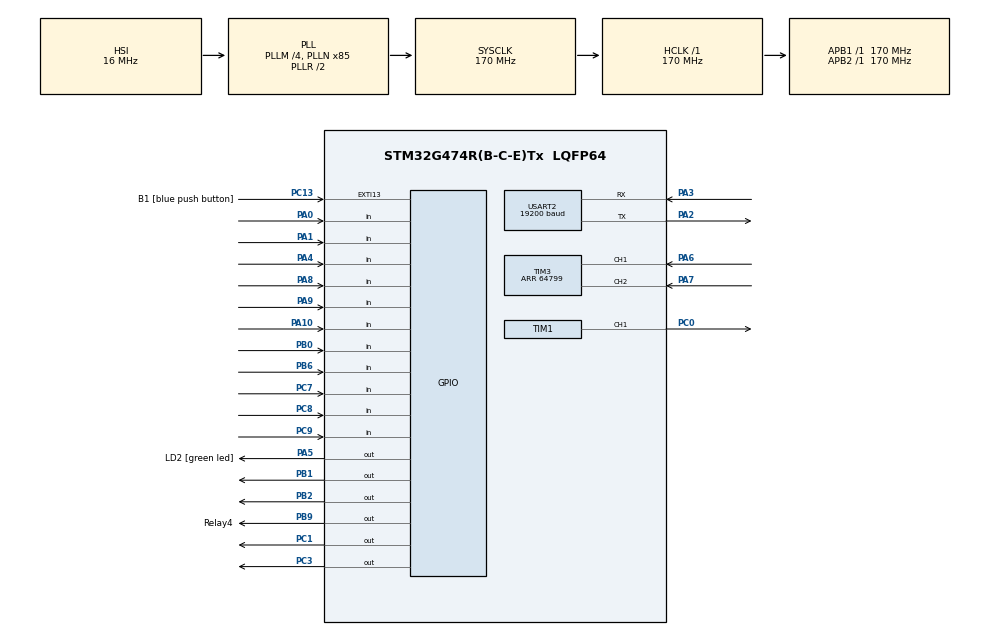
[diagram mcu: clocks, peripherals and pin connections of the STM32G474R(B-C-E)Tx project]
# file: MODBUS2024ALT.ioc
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ARM.CMSIS-DSP.1.15.0.CMSISJjDSP=Source
ARM.CMSIS.6.0.0.CMSISJjCORE=true
Dma.Request0=USART2_TX
Dma.Request1=USART2_RX
Dma.USART2_RX.1.Direction=DMA_PERIPH_TO_MEMORY
Dma.USART2_RX.1.EventEnable=DISABLE
Dma.USART2_RX.1.Instance=DMA1_Channel2
Dma.USART2_RX.1.MemDataAlignment=DMA_MDATAALIGN_BYTE
Dma.USART2_RX.1.MemInc=DMA_MINC_ENABLE
Dma.USART2_RX.1.Mode=DMA_NORMAL
Dma.USART2_RX.1.PeriphDataAlignment=DMA_PDATAALIGN_BYTE
Dma.USART2_RX.1.PeriphInc=DMA_PINC_DISABLE
Dma.USART2_RX.1.Polarity=HAL_DMAMUX_REQ_GEN_RISING
Dma.USART2_RX.1.Priority=DMA_PRIORITY_LOW
Dma.USART2_RX.1.RequestNumber=1
Dma.USART2_RX.1.SignalID=NONE
Dma.USART2_RX.1.SyncEnable=DISABLE
Dma.USART2_RX.1.SyncPolarity=HAL_DMAMUX_SYNC_NO_EVENT
Dma.USART2_RX.1.SyncRequestNumber=1
Dma.USART2_RX.1.SyncSignalID=NONE
Dma.USART2_TX.0.Direction=DMA_MEMORY_TO_PERIPH
Dma.USART2_TX.0.EventEnable=DISABLE
Dma.USART2_TX.0.Instance=DMA1_Channel1
Dma.USART2_TX.0.MemDataAlignment=DMA_MDATAALIGN_BYTE
Dma.USART2_TX.0.MemInc=DMA_MINC_ENABLE
Dma.USART2_TX.0.Mode=DMA_NORMAL
Dma.USART2_TX.0.PeriphDataAlignment=DMA_PDATAALIGN_BYTE
Dma.USART2_TX.0.PeriphInc=DMA_PINC_DISABLE
Dma.USART2_TX.0.Polarity=HAL_DMAMUX_REQ_GEN_RISING
Dma.USART2_TX.0.Priority=DMA_PRIORITY_LOW
Dma.USART2_TX.0.RequestNumber=1
Dma.USART2_TX.0.SignalID=NONE
Dma.USART2_TX.0.SyncEnable=DISABLE
Dma.USART2_TX.0.SyncPolarity=HAL_DMAMUX_SYNC_NO_EVENT
Dma.USART2_TX.0.SyncRequestNumber=1
Dma.USART2_TX.0.SyncSignalID=NONE
Mcu.Family=STM32G4
Mcu.Name=STM32G474R(B-C-E)Tx
Mcu.Package=LQFP64
NVIC.DMA1_Channel1_IRQn=true\:0\:0\:false\:false\:true\:false\:true\:true
NVIC.DMA1_Channel2_IRQn=true\:0\:0\:false\:false\:true\:false\:true\:true
NVIC.EXTI15_10_IRQn=true\:0\:0\:false\:false\:true\:true\:true\:true
NVIC.PriorityGroup=NVIC_PRIORITYGROUP_4
NVIC.TIM1_UP_TIM16_IRQn=true\:0\:0\:false\:false\:true\:true\:true\:true
NVIC.TIM3_IRQn=true\:0\:0\:false\:false\:true\:true\:true\:true
NVIC.TIM4_IRQn=true\:0\:0\:false\:false\:true\:true\:true\:true
NVIC.USART2_IRQn=true\:0\:0\:false\:false\:true\:true\:true\:true
PA0.GPIO_PuPd=GPIO_PULLUP
PA0.Signal=GPIO_Input
PA1.GPIO_PuPd=GPIO_PULLUP
PA1.Signal=GPIO_Input
PA10.GPIO_PuPd=GPIO_PULLUP
PA10.Signal=GPIO_Input
PA13.GPIO_Label=T_SWDIO
PA13.Mode=Serial_Wire
PA13.Signal=SYS_JTMS-SWDIO
PA14.GPIO_Label=T_SWCLK
PA14.Mode=Serial_Wire
PA14.Signal=SYS_JTCK-SWCLK
PA2.Mode=Asynchronous
PA2.Signal=USART2_TX
PA3.Mode=Asynchronous
PA3.Signal=USART2_RX
PA4.GPIO_PuPd=GPIO_PULLUP
PA4.Signal=GPIO_Input
PA5.GPIO_Label=LD2 [green led]
PA5.Signal=GPIO_Output
PA6.Signal=S_TIM3_CH1
PA7.Signal=S_TIM3_CH2
PA8.GPIO_PuPd=GPIO_PULLUP
PA8.Signal=GPIO_Input
PA9.GPIO_PuPd=GPIO_PULLUP
PA9.Signal=GPIO_Input
PB0.GPIO_PuPd=GPIO_PULLUP
PB0.Signal=GPIO_Input
PB1.Signal=GPIO_Output
PB2.Signal=GPIO_Output
PB3.GPIO_Label=T_SWO
PB3.Signal=SYS_JTDO-SWO
PB6.Signal=GPIO_Input
PB9.GPIO_Label=Relay4
PB9.Signal=GPIO_Output
PC0.Signal=S_TIM1_CH1
PC1.Signal=GPIO_Output
PC13.GPIO_Label=B1 [blue push button]
PC13.Signal=GPXTI13
PC14-OSC32_IN.Mode=LSE-External-Oscillator
PC14-OSC32_IN.Signal=RCC_OSC32_IN
PC15-OSC32_OUT.Mode=LSE-External-Oscillator
PC15-OSC32_OUT.Signal=RCC_OSC32_OUT
PC3.Signal=GPIO_Output
PC7.Signal=GPIO_Input
PC8.GPIO_PuPd=GPIO_PULLUP
PC8.Signal=GPIO_Input
PC9.GPIO_PuPd=GPIO_PULLUP
PC9.Signal=GPIO_Input
PF0-OSC_IN.Mode=HSE-External-Oscillator
PF0-OSC_IN.Signal=RCC_OSC_IN
PF1-OSC_OUT.Mode=HSE-External-Oscillator
PF1-OSC_OUT.Signal=RCC_OSC_OUT
ProjectManager.HeapSize=0x200
ProjectManager.StackSize=0x400
ProjectManager.TargetToolchain=STM32CubeIDE
RCC.ADC12Freq_Value=170000000
RCC.ADC345Freq_Value=170000000
RCC.AHBFreq_Value=170000000
RCC.APB1Freq_Value=170000000
RCC.APB1TimFreq_Value=170000000
RCC.APB2Freq_Value=170000000
RCC.APB2TimFreq_Value=170000000
RCC.CortexFreq_Value=170000000
RCC.EXTERNAL_CLOCK_VALUE=12288000
RCC.HCLKFreq_Value=170000000
RCC.HSE_VALUE=24000000
RCC.HSI48_VALUE=48000000
RCC.HSI_VALUE=16000000
RCC.PLLM=RCC_PLLM_DIV4
RCC.PLLN=85
RCC.RTCClockSelection=RCC_RTCCLKSOURCE_LSE
RCC.SYSCLKFreq_VALUE=170000000
RCC.SYSCLKSource=RCC_SYSCLKSOURCE_PLLCLK
RCC.USBFreq_Value=170000000
RCC.VCOOutputFreq_Value=340000000
SH.S_TIM1_CH1.0=TIM1_CH1,PWM Generation1 CH1
SH.S_TIM3_CH1.0=TIM3_CH1,Encoder_Interface
SH.S_TIM3_CH2.0=TIM3_CH2,Encoder_Interface
TIM1.Channel-PWM\ Generation1\ CH1=TIM_CHANNEL_1
TIM1.PeriodNoDither=3999
TIM1.Prescaler=169
TIM16.PeriodNoDither=1145
TIM16.Prescaler=169
TIM3.EncoderMode=TIM_ENCODERMODE_TI12
TIM3.IC1Filter=3
TIM3.IC2Filter=3
TIM3.PeriodNoDither=64799
TIM4.PeriodNoDither=4999
TIM4.Prescaler=169
TIM5.PeriodNoDither=4294967295
TIM5.Prescaler=169
USART2.BaudRate=19200
USART2.OneBitSampling=UART_ONE_BIT_SAMPLE_DISABLE
USART2.Parity=PARITY_EVEN
USART2.VirtualMode-Asynchronous=VM_ASYNC
USART2.WordLength=WORDLENGTH_9B
VP_ARM.CMSIS-DSP_VS_CMSISJjDSP_1.15.0_1.15.0.Mode=CMSISJjDSP
VP_ARM.CMSIS_VS_CMSISJjCORE_6.0.0_6.0.0.Mode=CMSISJjCORE
VP_SYS_VS_DBSignals.Mode=DisableDeadBatterySignals
VP_TIM16_VS_ClockSourceINT.Mode=Enable_Timer
VP_TIM16_VS_OPM.Mode=OPM_bit
VP_TIM2_VS_ClockSourceINT.Mode=Internal
VP_TIM4_VS_ClockSourceINT.Mode=Internal
VP_TIM5_VS_ClockSourceINT.Mode=Internal
board=NUCLEO-G474RE

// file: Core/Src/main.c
/* USER CODE BEGIN Header */
/**
  ******************************************************************************
  * @file           : main.c
  * @brief          : Main program body
  ******************************************************************************
  * @attention
  *
  * Copyright (c) 2024 STMicroelectronics.
  * All rights reserved.
  *
  * This software is licensed under terms that can be found in the LICENSE file
  * in the root directory of this software component.
  * If no LICENSE file comes with this software, it is provided AS-IS.
  *
  ******************************************************************************
  */
/* USER CODE END Header */
#include "main.h"

/* USER CODE BEGIN Includes */
#include "arm_math.h"
#include "pid.h"
#include "ModBusRTU.h"
/* USER CODE END Includes */

TIM_HandleTypeDef htim1;
TIM_HandleTypeDef htim2;
TIM_HandleTypeDef htim3;
TIM_HandleTypeDef htim4;
TIM_HandleTypeDef htim5;
TIM_HandleTypeDef htim16;

UART_HandleTypeDef huart2;
DMA_HandleTypeDef hdma_usart2_tx;
DMA_HandleTypeDef hdma_usart2_rx;

/* USER CODE BEGIN PV */
/*
List to do
-Merge IOC
-vacuum

List to test
-set home
-set shelve
*/

uint16_t timerange = 2;
uint64_t upper = 0;
uint64_t read = 0;
float linearspeed[2] ;
float linearacc = 0;
uint8_t relay[4];
uint32_t WaitGripper;
uint8_t GripperFlag;
uint32_t CountGripper;

uint32_t QEIReadRaw;
float velodegree;
float CurrentPos;
float linearvel[2];
float linearvelkar[2];
float linearacckal;
typedef struct {
// for record New / Old value to calculate dx / dt
	uint32_t Position[2];
	uint64_t TimeStamp[2];
	float QEIPostion_1turn[2];
	float QEIAngularVelocity;
	float Angle;
	float TotalPos[2];
	float QEIRound;

} QEI_StructureTypeDef;

QEI_StructureTypeDef QEIdata = { 0 };
uint64_t _micros = 0;

enum {
	NEW, OLD
};

//motor
uint16_t duty_cycle = 1000;

//LogicConv
uint8_t Lo1 = 0; // foreward leedswitch
uint8_t Lo2 = 0;// backward
uint8_t Lo3 = 0; //joy vs pid
uint8_t Lo4 = 1; //emer

//Botton
uint8_t bt1 = 0;
uint8_t bt2 = 0;
uint8_t bt3 = 0;
uint8_t bt4 = 0;
uint8_t bt5 = 0;
uint8_t bt5prev = 0;

//Limit
uint8_t LimitTop = 0;
uint8_t LimitBottom = 0;
uint8_t x = 0;
//RelayWrite

//PID
uint8_t mode = 2;
float Vfeedback;
float RealVfeedback;
float Goal = 0;
uint16_t duty_cycle_pid;
PID pid_control;
uint8_t test_change = 1;
uint8_t test_change_prev = 0;
float pid_p = 0.5;
float pid_i = 5.5e-3;
float pid_d = 3.5e-6;
uint8_t PercentDis;

///BaseSys
ModbusHandleTypedef hmodbus;
u16u8_t registerFrame[200];

float ShelvePos[5];
float HomePos = 0;

int32_t Z[4];	//Z[] = ZPos ZSpeed ZAccel XPos
uint8_t BaseVacuum;
uint8_t BaseGripper;
uint8_t ActualVacuum;
uint8_t ActualGripper;
char PickOrder[6];
char PlaceOrder[6];
uint16_t GoalPick[5];
uint16_t GoalPlace[5];
int j = 0;
uint8_t Arrived = 0;
uint8_t i;
uint8_t a;
float b_check[10];
uint8_t MotorDriveFlag = 0;
float MotorDriveDampDistance = 0;
float MotorDriveTravelDistance;
float StartTotalPos;
float PIDVFeedback;
//flag
uint8_t LimitBottomFlag=0;
uint8_t flagpick = 0;
uint8_t flagpickend = 0;
uint8_t flagplace = 0;
uint8_t flagplaceend = 0;
uint8_t flagEmer = 0;
uint8_t flagstart =0 ;
/* USER CODE END PV */

void SystemClock_Config(void);
static void MX_GPIO_Init(void);
static void MX_DMA_Init(void);
static void MX_USART2_UART_Init(void);
static void MX_TIM16_Init(void);
static void MX_TIM5_Init(void);
static void MX_TIM1_Init(void);
static void MX_TIM2_Init(void);
static void MX_TIM3_Init(void);
static void MX_TIM4_Init(void);
/* USER CODE BEGIN PFP */
void HomeGoTo();
void JogModeGoTo();
void PointModeGoTo();
void convert_to_string(uint16_t number, char* buffer, int buffer_size);

uint64_t Micros();
void QEIEncoderPosVel_Update();
void ReadLogicConv();
void ReadButton();
void ReadLimit();
void WritePins();
void MotorDrive();
void MotorDrivePoint();
void RelayDrive();
void GoPick();
void GoPlace();
long kalman_filter(long ADC_Value);
long kalman_filter_acc(long ADC_Value);
/* USER CODE END PFP */

int main(void)
{

  /* MCU Configuration--------------------------------------------------------*/

  /* Reset of all peripherals, Initializes the Flash interface and the Systick. */
  HAL_Init();

  /* Configure the system clock */
  SystemClock_Config();

  /* Initialize all configured peripherals */
  MX_GPIO_Init();
  MX_DMA_Init();
  MX_USART2_UART_Init();
  MX_TIM16_Init();
  MX_TIM5_Init();
  MX_TIM1_Init();
  MX_TIM2_Init();
  MX_TIM3_Init();
  MX_TIM4_Init();
  /* USER CODE BEGIN 2 */
  //pwm setup
  	 relay[0] = 1;
  	 relay[1] = 0;
  	 relay[2] = 0;

	HAL_TIM_Base_Start(&htim1);
	HAL_TIM_PWM_Start(&htim1, TIM_CHANNEL_1);
	__HAL_TIM_SET_COMPARE(&htim1, TIM_CHANNEL_1, 0);

	HAL_TIM_Encoder_Start(&htim3, TIM_CHANNEL_ALL);
	HAL_TIM_Base_Start_IT(&htim4);
	upper = 0;
	PID_init(&pid_control, pid_p, pid_i, pid_d ,timerange);

	hmodbus.huart = &huart2;
	hmodbus.htim = &htim16;
	hmodbus.slaveAddress = 0x15;
	hmodbus.RegisterSize =200;
	Modbus_init(&hmodbus, registerFrame);

	HAL_TIM_Base_Start_IT(&htim5);

  /* USER CODE END 2 */

  /* Infinite loop */
  while (1)
  {

    /* USER CODE BEGIN 3 */
	if(flagstart == 0){
		relay[0] = 0;
		relay[1] = 0;
		relay[2] = 0;
		flagstart = 1;
	}

	Modbus_Protocal_Worker();
	registerFrame[0x11].U16 = QEIdata.TotalPos[NEW]*10; //ZPos
	//registerFrame[0x11].U16 = b_check[0];
	registerFrame[0x12].U16 = fabs(linearspeed[NEW]*10); //ZSpeed
	registerFrame[0x13].U16 = fabs(linearacc); //ZAccel
	registerFrame[0x40].U16 = Z[3]/10; //XPos
	BaseVacuum = registerFrame[2].U16; // 0 = off , 1 = on
	BaseGripper = registerFrame[3].U16; // 0 = Backward , 1 = Forward

	//re counter
	if (LimitBottomFlag == 1) {
		memset(&QEIdata, 0, sizeof(QEIdata));

		__HAL_TIM_SET_COMPARE(&htim1, TIM_CHANNEL_1, 500);
		HAL_GPIO_WritePin(GPIOC, GPIO_PIN_3, 0);
		HAL_Delay(200);
		__HAL_TIM_SET_COMPARE(&htim1, TIM_CHANNEL_1, 0);
		__HAL_TIM_SET_COUNTER(&htim3,0);
		registerFrame[0x10].U16 = 0;
		LimitBottomFlag = 0;
	}

	if(Lo4 == 0  && flagEmer==0){
		__HAL_TIM_SET_COMPARE(&htim1, TIM_CHANNEL_1, 0);
		relay[0] = 0; //Gripper pull
		relay[1] = 0;
		relay[2] = 0;
		flagEmer = 1;
		__HAL_TIM_SET_COMPARE(&htim1, TIM_CHANNEL_1, 0);
		registerFrame[0x10].U16 = 0;
		registerFrame[0x01].U16 = 0;

	}
	if((Lo4 == 1) && (flagEmer == 1)){

		MotorDriveFlag = 1;
		flagEmer = 0;
	}else if((flagEmer == 1)&&(bt5 == 0)){
		__HAL_TIM_SET_COMPARE(&htim1, TIM_CHANNEL_1, 0);
		registerFrame[0x10].U16 = 0;
		registerFrame[0x01].U16 = 0;

		flagEmer = 0;
	}

	static uint64_t timestamp = 0;
	int64_t currentTime = Micros();
	if (currentTime > timestamp) {
		timestamp = currentTime + timerange;	 //us
		QEIEncoderPosVel_Update();
	}

	RelayDrive();
	ReadButton();
	ReadLogicConv();
	ReadLimit();
	if (mode == 0){
		MotorDrive();
	}

	if (LimitBottom == 0) {
		LimitBottomFlag = 1;
	}

	if (LimitTop == 0) {
		mode = 1;
		__HAL_TIM_SET_COMPARE(&htim1, TIM_CHANNEL_1, 0);
	}

	if (Lo3 == 1 && mode !=0){ //joy manual
			if (bt3 == 0) {
				HAL_GPIO_WritePin(GPIOC, GPIO_PIN_3, 1);
				__HAL_TIM_SET_COMPARE(&htim1, TIM_CHANNEL_1, duty_cycle);
			} else if (bt2 == 0) {
				HAL_GPIO_WritePin(GPIOC, GPIO_PIN_3, 0);
				__HAL_TIM_SET_COMPARE(&htim1, TIM_CHANNEL_1, duty_cycle);
			} else if (bt1 == 0){
				Z[3] = Z[3] + 1 ;
			}else if(bt4 == 0){
				Z[3] = Z[3] - 1 ;
			}else {
				__HAL_TIM_SET_COMPARE(&htim1, TIM_CHANNEL_1, 0);
			}

			relay[3] = 0;
	} else if (Lo3 == 0 && mode!=0){
			relay[3] = 1;
			 if (bt1 == 0){
				 Z[3] = Z[3] + 1 ;
			}else if(bt4 == 0){
				Z[3] = Z[3] - 1 ;
			}
			if(registerFrame[0x10].U16 == 0){

				if(BaseGripper==1){
					relay[0] = 0; //Gripper push
					relay[1] = 1;
				}else if(BaseGripper == 0){
					relay[0] = 1; //Gripper push
					relay[1] = 0;
				}
				if(BaseVacuum==1){
					relay[2] = 1;
				}else if(BaseVacuum == 0){
					relay[2] = 0;
				}
			}

			//Set Home
			if(registerFrame[0x01].U16 == 2){
				registerFrame[0x10].U16 = 2;
				registerFrame[0x01].U16 = 0;
			}
			//Set Shelves
			if (registerFrame[0x01].U16 == 1){
				registerFrame[0x01].U16 = 0;
				registerFrame[0x10].U16 = 1;
			}

			//Set Shelves
			if(registerFrame[0x10].U16 == 1){

				if ((bt2 == 0) && (bt1 == 1)) {
					HAL_GPIO_WritePin(GPIOC, GPIO_PIN_3, 0); //Go Up
					__HAL_TIM_SET_COMPARE(&htim1, TIM_CHANNEL_1, 700);
				} else if((bt2 == 1) && (bt1 == 0)){
					HAL_GPIO_WritePin(GPIOC, GPIO_PIN_3, 1); //Go Down
					__HAL_TIM_SET_COMPARE(&htim1, TIM_CHANNEL_1, 500);
				} else{
					__HAL_TIM_SET_COMPARE(&htim1, TIM_CHANNEL_1, 0);
				}

				// Handle bt5 press, to ensure that this function only trigger once.
				static uint8_t flagbt5 = 0;
				if(bt5 == 0) {
					static uint64_t timestampbt5 = 0;
					if(HAL_GetTick() > timestampbt5 && flagbt5 == 0) {
						timestampbt5 = HAL_GetTick() + 1000;
						ShelvePos[i] = QEIdata.TotalPos[NEW];
						i+=1;
						flagbt5 = 1;
					}
				} else {
					flagbt5 = 0;
				}

				// Set registerFrame 0x10 to 0 (idle) if finish running
				if(i > 4){
					i = 0;
					__HAL_TIM_SET_COMPARE(&htim1, TIM_CHANNEL_1, 0);
					registerFrame[0x10].U16 = 0;
				}

				bt5prev = bt5;
				registerFrame[0x23].U16 = ShelvePos[0]*10;
				registerFrame[0x24].U16 = ShelvePos[1]*10;
				registerFrame[0x25].U16 = ShelvePos[2]*10;
				registerFrame[0x26].U16 = ShelvePos[3]*10;
				registerFrame[0x27].U16 = ShelvePos[4]*10;
				//timestamp = HAL_GetTick()+2000;
			}

			//Set Home Run To limit switch
			if(registerFrame[0x10].U16 == 2){

				__HAL_TIM_SET_COMPARE(&htim1, TIM_CHANNEL_1, 800);
				HAL_GPIO_WritePin(GPIOC, GPIO_PIN_3, 1); //End effector Go Down

			}

			//Run Point Mode
				if(registerFrame[0x01].U16 == 8) {
					registerFrame[0x01].U16 = 0;
					registerFrame[0x10].U16 = 16;
					Arrived = 0;
					MotorDriveFlag = 0;
					Goal = registerFrame[48].U16/10;

				}

				if(registerFrame[0x10].U16 == 16){
					MotorDrivePoint();
				}
				if(Arrived == 1 && registerFrame[0x10].U16 == 16) {
					registerFrame[0x10].U16 = 0;
					MotorDriveFlag = 0;
				}

			//Run Jog Mode
			if(registerFrame[0x01].U16 == 4){
				convert_to_string(registerFrame[0x21].U16, PickOrder, sizeof(PickOrder));
				convert_to_string(registerFrame[0x22].U16, PlaceOrder, sizeof(PlaceOrder));
				registerFrame[0x01].U16 = 0;
				registerFrame[0x10].U16 = 4;
				for(int i = 0;i<=4;i++){

					GoalPick[i] = ShelvePos[PickOrder[4-i]-'0'-1];
					GoalPlace[i] = ShelvePos[PlaceOrder[4-i]-'0'-1];
//					GoalPick[i] = i + 10;
//					GoalPlace[i] =(i+1)*100 +10;
				}
			}

		/////////////////START JOG////////////////////////////////////////////////////////////
			if(registerFrame[0x10].U16 == 4 && j < 5){
				GoPick();
			}else if(registerFrame[0x10].U16 == 8 && j < 5){
				GoPlace();
			}else if(j==5){
				registerFrame[0x10].U16 = 0;
				for(int i = 0;i<=4;i++){
					GoalPick[i] = 0;
					GoalPlace[i] = 0;
			}

				j = 0;
				a = 7;
			}
		///////////////////END JOG///////////////////////////////////////////////////////////

		}

  }
  /* USER CODE END 3 */
}

void SystemClock_Config(void)
{
  RCC_OscInitTypeDef RCC_OscInitStruct = {0};
  RCC_ClkInitTypeDef RCC_ClkInitStruct = {0};

  /** Configure the main internal regulator output voltage
  */
  HAL_PWREx_ControlVoltageScaling(PWR_REGULATOR_VOLTAGE_SCALE1_BOOST);

  /** Initializes the RCC Oscillators according to the specified parameters
  * in the RCC_OscInitTypeDef structure.
  */
  RCC_OscInitStruct.OscillatorType = RCC_OSCILLATORTYPE_HSI;
  RCC_OscInitStruct.HSIState = RCC_HSI_ON;
  RCC_OscInitStruct.HSICalibrationValue = RCC_HSICALIBRATION_DEFAULT;
  RCC_OscInitStruct.PLL.PLLState = RCC_PLL_ON;
  RCC_OscInitStruct.PLL.PLLSource = RCC_PLLSOURCE_HSI;
  RCC_OscInitStruct.PLL.PLLM = RCC_PLLM_DIV4;
  RCC_OscInitStruct.PLL.PLLN = 85;
  RCC_OscInitStruct.PLL.PLLP = RCC_PLLP_DIV2;
  RCC_OscInitStruct.PLL.PLLQ = RCC_PLLQ_DIV2;
  RCC_OscInitStruct.PLL.PLLR = RCC_PLLR_DIV2;
  if (HAL_RCC_OscConfig(&RCC_OscInitStruct) != HAL_OK)
  {
    Error_Handler();
  }

  /** Initializes the CPU, AHB and APB buses clocks
  */
  RCC_ClkInitStruct.ClockType = RCC_CLOCKTYPE_HCLK|RCC_CLOCKTYPE_SYSCLK
                              |RCC_CLOCKTYPE_PCLK1|RCC_CLOCKTYPE_PCLK2;
  RCC_ClkInitStruct.SYSCLKSource = RCC_SYSCLKSOURCE_PLLCLK;
  RCC_ClkInitStruct.AHBCLKDivider = RCC_SYSCLK_DIV1;
  RCC_ClkInitStruct.APB1CLKDivider = RCC_HCLK_DIV1;
  RCC_ClkInitStruct.APB2CLKDivider = RCC_HCLK_DIV1;

  if (HAL_RCC_ClockConfig(&RCC_ClkInitStruct, FLASH_LATENCY_4) != HAL_OK)
  {
    Error_Handler();
  }
}

static void MX_TIM1_Init(void)
{

  TIM_MasterConfigTypeDef sMasterConfig = {0};
  TIM_OC_InitTypeDef sConfigOC = {0};
  TIM_BreakDeadTimeConfigTypeDef sBreakDeadTimeConfig = {0};

  htim1.Instance = TIM1;
  htim1.Init.Prescaler = 169;
  htim1.Init.CounterMode = TIM_COUNTERMODE_UP;
  htim1.Init.Period = 3999;
  htim1.Init.ClockDivision = TIM_CLOCKDIVISION_DIV1;
  htim1.Init.RepetitionCounter = 0;
  htim1.Init.AutoReloadPreload = TIM_AUTORELOAD_PRELOAD_DISABLE;
  if (HAL_TIM_PWM_Init(&htim1) != HAL_OK)
  {
    Error_Handler();
  }
  sMasterConfig.MasterOutputTrigger = TIM_TRGO_RESET;
  sMasterConfig.MasterOutputTrigger2 = TIM_TRGO2_RESET;
  sMasterConfig.MasterSlaveMode = TIM_MASTERSLAVEMODE_DISABLE;
  if (HAL_TIMEx_MasterConfigSynchronization(&htim1, &sMasterConfig) != HAL_OK)
  {
    Error_Handler();
  }
  sConfigOC.OCMode = TIM_OCMODE_PWM1;
  sConfigOC.Pulse = 0;
  sConfigOC.OCPolarity = TIM_OCPOLARITY_HIGH;
  sConfigOC.OCNPolarity = TIM_OCNPOLARITY_HIGH;
  sConfigOC.OCFastMode = TIM_OCFAST_DISABLE;
  sConfigOC.OCIdleState = TIM_OCIDLESTATE_RESET;
  sConfigOC.OCNIdleState = TIM_OCNIDLESTATE_RESET;
  if (HAL_TIM_PWM_ConfigChannel(&htim1, &sConfigOC, TIM_CHANNEL_1) != HAL_OK)
  {
    Error_Handler();
  }
  sBreakDeadTimeConfig.OffStateRunMode = TIM_OSSR_DISABLE;
  sBreakDeadTimeConfig.OffStateIDLEMode = TIM_OSSI_DISABLE;
  sBreakDeadTimeConfig.LockLevel = TIM_LOCKLEVEL_OFF;
  sBreakDeadTimeConfig.DeadTime = 0;
  sBreakDeadTimeConfig.BreakState = TIM_BREAK_DISABLE;
  sBreakDeadTimeConfig.BreakPolarity = TIM_BREAKPOLARITY_HIGH;
  sBreakDeadTimeConfig.BreakFilter = 0;
  sBreakDeadTimeConfig.BreakAFMode = TIM_BREAK_AFMODE_INPUT;
  sBreakDeadTimeConfig.Break2State = TIM_BREAK2_DISABLE;
  sBreakDeadTimeConfig.Break2Polarity = TIM_BREAK2POLARITY_HIGH;
  sBreakDeadTimeConfig.Break2Filter = 0;
  sBreakDeadTimeConfig.Break2AFMode = TIM_BREAK_AFMODE_INPUT;
  sBreakDeadTimeConfig.AutomaticOutput = TIM_AUTOMATICOUTPUT_DISABLE;
  if (HAL_TIMEx_ConfigBreakDeadTime(&htim1, &sBreakDeadTimeConfig) != HAL_OK)
  {
    Error_Handler();
  }
  HAL_TIM_MspPostInit(&htim1);

}

static void MX_TIM2_Init(void)
{

  TIM_ClockConfigTypeDef sClockSourceConfig = {0};
  TIM_MasterConfigTypeDef sMasterConfig = {0};

  htim2.Instance = TIM2;
  htim2.Init.Prescaler = 0;
  htim2.Init.CounterMode = TIM_COUNTERMODE_UP;
  htim2.Init.Period = 4294967295;
  htim2.Init.ClockDivision = TIM_CLOCKDIVISION_DIV1;
  htim2.Init.AutoReloadPreload = TIM_AUTORELOAD_PRELOAD_DISABLE;
  if (HAL_TIM_Base_Init(&htim2) != HAL_OK)
  {
    Error_Handler();
  }
  sClockSourceConfig.ClockSource = TIM_CLOCKSOURCE_INTERNAL;
  if (HAL_TIM_ConfigClockSource(&htim2, &sClockSourceConfig) != HAL_OK)
  {
    Error_Handler();
  }
  sMasterConfig.MasterOutputTrigger = TIM_TRGO_RESET;
  sMasterConfig.MasterSlaveMode = TIM_MASTERSLAVEMODE_DISABLE;
  if (HAL_TIMEx_MasterConfigSynchronization(&htim2, &sMasterConfig) != HAL_OK)
  {
    Error_Handler();
  }

}

static void MX_TIM3_Init(void)
{

  TIM_Encoder_InitTypeDef sConfig = {0};
  TIM_MasterConfigTypeDef sMasterConfig = {0};

  htim3.Instance = TIM3;
  htim3.Init.Prescaler = 0;
  htim3.Init.CounterMode = TIM_COUNTERMODE_UP;
  htim3.Init.Period = 64799;
  htim3.Init.ClockDivision = TIM_CLOCKDIVISION_DIV1;
  htim3.Init.AutoReloadPreload = TIM_AUTORELOAD_PRELOAD_DISABLE;
  sConfig.EncoderMode = TIM_ENCODERMODE_TI12;
  sConfig.IC1Polarity = TIM_ICPOLARITY_RISING;
  sConfig.IC1Selection = TIM_ICSELECTION_DIRECTTI;
  sConfig.IC1Prescaler = TIM_ICPSC_DIV1;
  sConfig.IC1Filter = 3;
  sConfig.IC2Polarity = TIM_ICPOLARITY_RISING;
  sConfig.IC2Selection = TIM_ICSELECTION_DIRECTTI;
  sConfig.IC2Prescaler = TIM_ICPSC_DIV1;
  sConfig.IC2Filter = 3;
  if (HAL_TIM_Encoder_Init(&htim3, &sConfig) != HAL_OK)
  {
    Error_Handler();
  }
  sMasterConfig.MasterOutputTrigger = TIM_TRGO_RESET;
  sMasterConfig.MasterSlaveMode = TIM_MASTERSLAVEMODE_DISABLE;
  if (HAL_TIMEx_MasterConfigSynchronization(&htim3, &sMasterConfig) != HAL_OK)
  {
    Error_Handler();
  }

}

static void MX_TIM4_Init(void)
{

  TIM_ClockConfigTypeDef sClockSourceConfig = {0};
  TIM_MasterConfigTypeDef sMasterConfig = {0};

  htim4.Instance = TIM4;
  htim4.Init.Prescaler = 169;
  htim4.Init.CounterMode = TIM_COUNTERMODE_UP;
  htim4.Init.Period = 4999;
  htim4.Init.ClockDivision = TIM_CLOCKDIVISION_DIV1;
  htim4.Init.AutoReloadPreload = TIM_AUTORELOAD_PRELOAD_DISABLE;
  if (HAL_TIM_Base_Init(&htim4) != HAL_OK)
  {
    Error_Handler();
  }
  sClockSourceConfig.ClockSource = TIM_CLOCKSOURCE_INTERNAL;
  if (HAL_TIM_ConfigClockSource(&htim4, &sClockSourceConfig) != HAL_OK)
  {
    Error_Handler();
  }
  sMasterConfig.MasterOutputTrigger = TIM_TRGO_RESET;
  sMasterConfig.MasterSlaveMode = TIM_MASTERSLAVEMODE_DISABLE;
  if (HAL_TIMEx_MasterConfigSynchronization(&htim4, &sMasterConfig) != HAL_OK)
  {
    Error_Handler();
  }

}

static void MX_TIM5_Init(void)
{

  TIM_ClockConfigTypeDef sClockSourceConfig = {0};
  TIM_MasterConfigTypeDef sMasterConfig = {0};

  htim5.Instance = TIM5;
  htim5.Init.Prescaler = 169;
  htim5.Init.CounterMode = TIM_COUNTERMODE_UP;
  htim5.Init.Period = 4294967295;
  htim5.Init.ClockDivision = TIM_CLOCKDIVISION_DIV1;
  htim5.Init.AutoReloadPreload = TIM_AUTORELOAD_PRELOAD_DISABLE;
  if (HAL_TIM_Base_Init(&htim5) != HAL_OK)
  {
    Error_Handler();
  }
  sClockSourceConfig.ClockSource = TIM_CLOCKSOURCE_INTERNAL;
  if (HAL_TIM_ConfigClockSource(&htim5, &sClockSourceConfig) != HAL_OK)
  {
    Error_Handler();
  }
  sMasterConfig.MasterOutputTrigger = TIM_TRGO_RESET;
  sMasterConfig.MasterSlaveMode = TIM_MASTERSLAVEMODE_DISABLE;
  if (HAL_TIMEx_MasterConfigSynchronization(&htim5, &sMasterConfig) != HAL_OK)
  {
    Error_Handler();
  }

}

static void MX_TIM16_Init(void)
{

  htim16.Instance = TIM16;
  htim16.Init.Prescaler = 169;
  htim16.Init.CounterMode = TIM_COUNTERMODE_UP;
  htim16.Init.Period = 1145;
  htim16.Init.ClockDivision = TIM_CLOCKDIVISION_DIV1;
  htim16.Init.RepetitionCounter = 0;
  htim16.Init.AutoReloadPreload = TIM_AUTORELOAD_PRELOAD_DISABLE;
  if (HAL_TIM_Base_Init(&htim16) != HAL_OK)
  {
    Error_Handler();
  }
  if (HAL_TIM_OnePulse_Init(&htim16, TIM_OPMODE_SINGLE) != HAL_OK)
  {
    Error_Handler();
  }

}

static void MX_USART2_UART_Init(void)
{

  huart2.Instance = USART2;
  huart2.Init.BaudRate = 19200;
  huart2.Init.WordLength = UART_WORDLENGTH_9B;
  huart2.Init.StopBits = UART_STOPBITS_1;
  huart2.Init.Parity = UART_PARITY_EVEN;
  huart2.Init.Mode = UART_MODE_TX_RX;
  huart2.Init.HwFlowCtl = UART_HWCONTROL_NONE;
  huart2.Init.OverSampling = UART_OVERSAMPLING_16;
  huart2.Init.OneBitSampling = UART_ONE_BIT_SAMPLE_DISABLE;
  huart2.Init.ClockPrescaler = UART_PRESCALER_DIV1;
  huart2.AdvancedInit.AdvFeatureInit = UART_ADVFEATURE_NO_INIT;
  if (HAL_UART_Init(&huart2) != HAL_OK)
  {
    Error_Handler();
  }
  if (HAL_UARTEx_SetTxFifoThreshold(&huart2, UART_TXFIFO_THRESHOLD_1_8) != HAL_OK)
  {
    Error_Handler();
  }
  if (HAL_UARTEx_SetRxFifoThreshold(&huart2, UART_RXFIFO_THRESHOLD_1_8) != HAL_OK)
  {
    Error_Handler();
  }
  if (HAL_UARTEx_DisableFifoMode(&huart2) != HAL_OK)
  {
    Error_Handler();
  }

}

static void MX_DMA_Init(void)
{

  /* DMA controller clock enable */
  __HAL_RCC_DMAMUX1_CLK_ENABLE();
  __HAL_RCC_DMA1_CLK_ENABLE();

  /* DMA interrupt init */
  /* DMA1_Channel1_IRQn interrupt configuration */
  HAL_NVIC_SetPriority(DMA1_Channel1_IRQn, 0, 0);
  HAL_NVIC_EnableIRQ(DMA1_Channel1_IRQn);
  /* DMA1_Channel2_IRQn interrupt configuration */
  HAL_NVIC_SetPriority(DMA1_Channel2_IRQn, 0, 0);
  HAL_NVIC_EnableIRQ(DMA1_Channel2_IRQn);

}

static void MX_GPIO_Init(void)
{
  GPIO_InitTypeDef GPIO_InitStruct = {0};

  /* GPIO Ports Clock Enable */
  __HAL_RCC_GPIOC_CLK_ENABLE();
  __HAL_RCC_GPIOF_CLK_ENABLE();
  __HAL_RCC_GPIOA_CLK_ENABLE();
  __HAL_RCC_GPIOB_CLK_ENABLE();

  /*Configure GPIO pin Output Level */
  HAL_GPIO_WritePin(GPIOC, GPIO_PIN_1|GPIO_PIN_3, GPIO_PIN_RESET);

  /*Configure GPIO pin Output Level */
  HAL_GPIO_WritePin(LD2_GPIO_Port, LD2_Pin, GPIO_PIN_RESET);

  /*Configure GPIO pin Output Level */
  HAL_GPIO_WritePin(GPIOB, GPIO_PIN_1|GPIO_PIN_2|Relay4_Pin, GPIO_PIN_RESET);

  /*Configure GPIO pin : B1_Pin */
  GPIO_InitStruct.Pin = B1_Pin;
  GPIO_InitStruct.Mode = GPIO_MODE_IT_RISING;
  GPIO_InitStruct.Pull = GPIO_NOPULL;
  HAL_GPIO_Init(B1_GPIO_Port, &GPIO_InitStruct);

  /*Configure GPIO pins : PC1 PC3 */
  GPIO_InitStruct.Pin = GPIO_PIN_1|GPIO_PIN_3;
  GPIO_InitStruct.Mode = GPIO_MODE_OUTPUT_PP;
  GPIO_InitStruct.Pull = GPIO_NOPULL;
  GPIO_InitStruct.Speed = GPIO_SPEED_FREQ_LOW;
  HAL_GPIO_Init(GPIOC, &GPIO_InitStruct);

  /*Configure GPIO pins : PA0 PA1 PA4 PA8
                           PA9 PA10 */
  GPIO_InitStruct.Pin = GPIO_PIN_0|GPIO_PIN_1|GPIO_PIN_4|GPIO_PIN_8
                          |GPIO_PIN_9|GPIO_PIN_10;
  GPIO_InitStruct.Mode = GPIO_MODE_INPUT;
  GPIO_InitStruct.Pull = GPIO_PULLUP;
  HAL_GPIO_Init(GPIOA, &GPIO_InitStruct);

  /*Configure GPIO pin : LD2_Pin */
  GPIO_InitStruct.Pin = LD2_Pin;
  GPIO_InitStruct.Mode = GPIO_MODE_OUTPUT_PP;
  GPIO_InitStruct.Pull = GPIO_NOPULL;
  GPIO_InitStruct.Speed = GPIO_SPEED_FREQ_LOW;
  HAL_GPIO_Init(LD2_GPIO_Port, &GPIO_InitStruct);

  /*Configure GPIO pin : PB0 */
  GPIO_InitStruct.Pin = GPIO_PIN_0;
  GPIO_InitStruct.Mode = GPIO_MODE_INPUT;
  GPIO_InitStruct.Pull = GPIO_PULLUP;
  HAL_GPIO_Init(GPIOB, &GPIO_InitStruct);

  /*Configure GPIO pins : PB1 PB2 Relay4_Pin */
  GPIO_InitStruct.Pin = GPIO_PIN_1|GPIO_PIN_2|Relay4_Pin;
  GPIO_InitStruct.Mode = GPIO_MODE_OUTPUT_PP;
  GPIO_InitStruct.Pull = GPIO_NOPULL;
  GPIO_InitStruct.Speed = GPIO_SPEED_FREQ_LOW;
  HAL_GPIO_Init(GPIOB, &GPIO_InitStruct);

  /*Configure GPIO pin : PC7 */
  GPIO_InitStruct.Pin = GPIO_PIN_7;
  GPIO_InitStruct.Mode = GPIO_MODE_INPUT;
  GPIO_InitStruct.Pull = GPIO_NOPULL;
  HAL_GPIO_Init(GPIOC, &GPIO_InitStruct);

  /*Configure GPIO pins : PC8 PC9 */
  GPIO_InitStruct.Pin = GPIO_PIN_8|GPIO_PIN_9;
  GPIO_InitStruct.Mode = GPIO_MODE_INPUT;
  GPIO_InitStruct.Pull = GPIO_PULLUP;
  HAL_GPIO_Init(GPIOC, &GPIO_InitStruct);

  /*Configure GPIO pin : PB6 */
  GPIO_InitStruct.Pin = GPIO_PIN_6;
  GPIO_InitStruct.Mode = GPIO_MODE_INPUT;
  GPIO_InitStruct.Pull = GPIO_NOPULL;
  HAL_GPIO_Init(GPIOB, &GPIO_InitStruct);

  /* EXTI interrupt init*/
  HAL_NVIC_SetPriority(EXTI15_10_IRQn, 0, 0);
  HAL_NVIC_EnableIRQ(EXTI15_10_IRQn);

}

/* USER CODE BEGIN 4 */
//void HAL_GPIO_EXTI_Callback (uint16_t GPIO_Pin)
//{
//	if(GPIO_Pin == GPIO_PIN_7){ //limitBottom
//		LimitBottomFlag = 1;
//	}
//
//	if(GPIO_Pin == GPIO_PIN_6){
////		mode = 1;
////		__HAL_TIM_SET_COMPARE(&htim1, TIM_CHANNEL_1, 0);
//	}
//
//}

void HAL_TIM_PeriodElapsedCallback(TIM_HandleTypeDef *htim)
{
	if(htim == &htim4)
	{
		registerFrame[0].U16 = 22881;
		CountGripper += 1;
	}
	if (htim == &htim5) {
		upper += 1;
		HAL_GPIO_TogglePin(GPIOA, GPIO_PIN_5);
	}
}

void convert_to_string(uint16_t number, char* buffer, int buffer_size) {
  if (buffer_size < 6) { // Ensure buffer size is at least 6 (for 5 digits + null terminator)    return; // Handle error (insufficient buffer size)
  }

  int index = 0;
  do {
    uint8_t digit = number % 10;
    buffer[index++] = digit + '0';
    number /= 10;
  } while (number > 0);
  buffer[index] = '\0';
}

void GoPick() {
	//a=0;
	b_check[5] = 1;
	Arrived = 0;

	Goal = GoalPick[j];
	MotorDrive();

	static uint64_t timestampVacuum = 0;
  //Gripper FW Vacuum On
	if((Arrived == 1)&&(flagpickend ==0)){
		relay[2] = 1; //Vacuum On

		relay[0] = 0; //Gripper push
		relay[1] = 1;

		a=1;
		if (GripperFlag == 0) {
			timestampVacuum = HAL_GetTick()+500;
			WaitGripper = CountGripper+150;
			GripperFlag = 1;
			flagpickend = 0;
		}
	}
	if((ActualGripper == 1) && (flagpickend == 0) && (HAL_GetTick()>= timestampVacuum)){ //leed switch Out And wait 200 ms
		relay[0] = 1; //Gripper pull
		relay[1] = 0;
		a=2;
		flagpick = 1;
		flagpickend = 1;
	}

	if((ActualGripper == 0) && (flagpick == 1) && (flagpickend == 1)){
		GripperFlag = 0;
		registerFrame[0x10].U16 = 8;
		flagpick = 0;
		a=3;
		MotorDriveFlag = 0;
	}

}

void GoPlace() {

	static uint64_t timestampVacuum = 0;
	if((ActualGripper == 0)){//Gripper BW before move
		Arrived = 0;
		Goal = GoalPlace[j]+10;
		MotorDrive();
		a = 4;
	}//Gripper FW Vacuum Off
	if((Arrived == 1)&&(flagplaceend == 0)){
		relay[2] = 0; //Vacuum Off

		relay[0] = 0;
		relay[1] = 1; //Gripper push
		if (GripperFlag == 0) {
			timestampVacuum = HAL_GetTick()+500;
			WaitGripper = CountGripper+8;
			GripperFlag = 1;
			flagplaceend = 0;
		}
	}
	if((ActualGripper == 1) && (ActualVacuum == 0) &&(flagplaceend == 0) && (HAL_GetTick()>= timestampVacuum) ){
		//wait 400 ms
		flagplace = 1;
		a = 5;
		relay[0] = 1; //pull
		relay[1] = 0; //
		flagplaceend = 1;

	}
	if((flagplace == 1) && (ActualGripper == 0)&&(flagplaceend == 1) ){
		GripperFlag = 0;
		registerFrame[0x10].U16 = 4;
		j += 1; //use
		a = 6;
		MotorDriveFlag = 0;
		flagplace = 0;
		flagplaceend = 0;
		flagpickend = 0;

	}
}

uint64_t Micros() {
//	static uint32_t timestamp = 0;
	uint32_t lower = 0;
	uint64_t time = 0;
	lower = __HAL_TIM_GET_COUNTER(&htim5);
	time = (upper << 32) | lower;
	return time;
}

void QEIEncoderPosVel_Update() {
	//CurrentPos = QEIdata.TotalPos-HomePos;
	//collect data
	QEIdata.TimeStamp[NEW] = Micros();
	QEIdata.Position[NEW] = __HAL_TIM_GET_COUNTER(&htim3);

	//Position 1 turn calculation
	QEIdata.QEIPostion_1turn[NEW] = QEIdata.Position[NEW] % 800;
	QEIdata.Angle = QEIdata.QEIPostion_1turn[NEW] * 360 / 800;
	//calculate dx
	int32_t diffPosition = QEIdata.Position[NEW] - QEIdata.Position[OLD];
	int32_t diff1turn = QEIdata.QEIPostion_1turn[NEW] - QEIdata.QEIPostion_1turn[OLD];

	//Handle Warp around
	if (diffPosition > 32400) {
		diffPosition -= 64800;
	}
	if (diffPosition < -32400) {
		diffPosition += 64800;
	}
	//Calculate Linear Position in mm unit
	if (diff1turn > 400) {
		QEIdata.QEIRound -= 1;
	}
	if (diff1turn < -400) {
		QEIdata.QEIRound += 1;
	}

	QEIdata.TotalPos[NEW] = ((QEIdata.QEIRound * 14) + QEIdata.QEIPostion_1turn[NEW] * 14 / 800); //linear pos in mm uint

			//calculate dt
	float diffTime = (QEIdata.TimeStamp[NEW] - QEIdata.TimeStamp[OLD])
			* 1e-6;

	//calculate angular velocity
	QEIdata.QEIAngularVelocity = diffPosition / diffTime;
	velodegree = QEIdata.QEIAngularVelocity;
	velodegree = (velodegree * 60) / 800;
	linearspeed[NEW] = velodegree * 14 / 60.0;

	float diffPos = QEIdata.TotalPos[NEW] - QEIdata.TotalPos[OLD];
	if(((diffPos/diffTime)>-800)&&((diffPos/diffTime)<800)&&((diffPos/diffTime)!=0)){
		linearvel[NEW] = (diffPos/diffTime)*1.4;
		linearvelkar[NEW] = kalman_filter(linearvel[NEW]);
	}else if(fabs(QEIdata.TotalPos[NEW] - QEIdata.TotalPos[OLD])<1){
		linearvel[NEW] = 0;
		linearvelkar[NEW] = kalman_filter(linearvel[NEW]);
	}

	float diffVel = linearvelkar[NEW] - linearvelkar[OLD];
	linearacc = (diffVel/diffTime)*0.6;
	linearacckal = kalman_filter_acc(linearacc);

	//store value for next loop

	linearvelkar[OLD] = linearvelkar[NEW];
	linearvel[OLD] = linearvel[NEW];
	QEIdata.TotalPos[OLD] = QEIdata.TotalPos[NEW];
	QEIdata.Position[OLD] = QEIdata.Position[NEW];
	QEIdata.TimeStamp[OLD] = QEIdata.TimeStamp[NEW];
	QEIdata.QEIPostion_1turn[OLD] = QEIdata.QEIPostion_1turn[NEW];
	linearspeed[OLD] = linearspeed[NEW];

}

void ReadLogicConv() {
	Lo1 = HAL_GPIO_ReadPin(GPIOA, GPIO_PIN_0); //Lo1 Pull
	Lo2 = HAL_GPIO_ReadPin(GPIOA, GPIO_PIN_1); //Lo2 Push
	Lo3 = HAL_GPIO_ReadPin(GPIOA, GPIO_PIN_4); //Lo3
	Lo4 = HAL_GPIO_ReadPin(GPIOB, GPIO_PIN_0); //Lo4
	if(Lo1 == 0 && Lo2 == 1){ //Push
		ActualGripper = 1;
	}else if(Lo1 == 1 && Lo2 == 0){ //Pull
		ActualGripper = 0;
	}
}
void ReadButton() {
	bt1 = HAL_GPIO_ReadPin(GPIOC, GPIO_PIN_8); //BT1
	bt2 = HAL_GPIO_ReadPin(GPIOC, GPIO_PIN_9); //BT2
	bt3 = HAL_GPIO_ReadPin(GPIOA, GPIO_PIN_8); //BT3
	bt4 = HAL_GPIO_ReadPin(GPIOA, GPIO_PIN_9); //BT4
	bt5 = HAL_GPIO_ReadPin(GPIOA, GPIO_PIN_10); //BT5
}

void MotorDrive() {
	if (MotorDriveFlag == 0) {
		// Start: This box of code run only one time.
		StartTotalPos = QEIdata.TotalPos[NEW];
		MotorDriveTravelDistance = Goal - QEIdata.TotalPos[NEW];
		MotorDriveDampDistance = MotorDriveTravelDistance * 0.2;
		// End
		MotorDriveFlag = 1;
	}

	float PosNow = QEIdata.TotalPos[NEW] - StartTotalPos;

	if((MotorDriveTravelDistance-PosNow) > 0.1 || ((MotorDriveTravelDistance-PosNow) < -0.1)){
		Arrived = 0;
		b_check[8] = PosNow;
		int8_t DriveDirection = 1; // direction is 1 if up, -1 if down.
		if (Goal <= StartTotalPos) {
			DriveDirection = -1;
			b_check[7] = 1;
		}

		// Trajectory generator
		if(DriveDirection == -1){
			if ((PosNow <= MotorDriveDampDistance) && (PosNow >= MotorDriveTravelDistance-MotorDriveDampDistance)) { // Middle
				RealVfeedback = 10;
				b_check[6]= 1;
			} else if (PosNow > MotorDriveDampDistance) { // Start
				//RealVfeedback = 1.5;
				RealVfeedback = (fabs(PosNow)+1)*13 / MotorDriveTravelDistance;
				b_check[6]= 2;
			}  else if (PosNow <= MotorDriveTravelDistance) {  //Hard Stop
				RealVfeedback = 0;
				b_check[6]= 3;
			} else if (PosNow < MotorDriveTravelDistance - MotorDriveDampDistance) {  //Stop
				//RealVfeedback = 1.5;
				RealVfeedback = (MotorDriveTravelDistance-PosNow)*10 / MotorDriveTravelDistance;
				b_check[6]= 4;
			}
		}
		if(DriveDirection == 1){
			if ((PosNow >= MotorDriveDampDistance) && (PosNow <= MotorDriveTravelDistance-MotorDriveDampDistance)) { // Middle
				RealVfeedback = 12;
				b_check[6]= 5;
			} else if (PosNow < MotorDriveDampDistance) { // Start
				//RealVfeedback = 2;
				RealVfeedback = (PosNow+1) * 12/ MotorDriveDampDistance;
				b_check[6]= 6;
			} else if (PosNow > MotorDriveTravelDistance) {  //Hard Stop
				RealVfeedback = 0;
				b_check[6]= 7;
			} else if (PosNow > MotorDriveTravelDistance - MotorDriveDampDistance) {  //Stop
				//RealVfeedback = 1.5;
				RealVfeedback = (MotorDriveTravelDistance-PosNow) * 12 / MotorDriveDampDistance;
				b_check[6]= 8;
			}
		}

		PIDVFeedback = Update_pid(&pid_control, MotorDriveTravelDistance-PosNow, 10, 12);

		if (fabs(PIDVFeedback) < fabs(RealVfeedback)) {
			RealVfeedback = PIDVFeedback;
		}

		RealVfeedback = RealVfeedback * DriveDirection;

		if (DriveDirection == 1) {  //go up
			HAL_GPIO_WritePin(GPIOC, GPIO_PIN_3, 0);
			b_check[9]= 4;
		} else {  //go down
			HAL_GPIO_WritePin(GPIOC, GPIO_PIN_3, 1);
			RealVfeedback = RealVfeedback * (-1);
			b_check[9]= 5;
		}

		if(fabs(RealVfeedback) < 1.8  && RealVfeedback!=0){
			if (DriveDirection == -1) {
				RealVfeedback = 1.3;
			} else {
				RealVfeedback = 1.8;
			}
		}

		duty_cycle_pid = fabs(RealVfeedback) * 4000 / 12;
		if(RealVfeedback == 0){
			duty_cycle_pid = 0;
		}

		__HAL_TIM_SET_COMPARE(&htim1, TIM_CHANNEL_1, duty_cycle_pid);
	}else{
		__HAL_TIM_SET_COMPARE(&htim1, TIM_CHANNEL_1, 0);
		Arrived = 1;
		RealVfeedback = 0;
		b_check[6] = 6;

	}
}
void MotorDrivePoint() {
	if (MotorDriveFlag == 0) {
		// Start: This box of code run only one time.
		StartTotalPos = QEIdata.TotalPos[NEW];
		MotorDriveTravelDistance = Goal - QEIdata.TotalPos[NEW];
		MotorDriveDampDistance = MotorDriveTravelDistance * 0.3;
		// End
		MotorDriveFlag = 1;
	}

	float PosNow = QEIdata.TotalPos[NEW] - StartTotalPos;

	if((MotorDriveTravelDistance-PosNow) > 0.1 || ((MotorDriveTravelDistance-PosNow) < -0.1)){
		Arrived = 0;
		b_check[8] = PosNow;
		int8_t DriveDirection = 1; // direction is 1 if up, -1 if down.
		if (Goal <= StartTotalPos) {
			DriveDirection = -1;
			b_check[7] = 1;
		}
//		if(MotorDriveTravelDistance<=100){
//			RealVfeedback = 3;
//		}

		// Trajectory generator
		if((DriveDirection == -1)&&(MotorDriveTravelDistance<0)){
			if ((PosNow <= MotorDriveDampDistance) && (PosNow >= MotorDriveTravelDistance-MotorDriveDampDistance)) { // Middle
				RealVfeedback = 7;
				b_check[6]= 9;
			} else if (PosNow > MotorDriveDampDistance) { // Start
				//RealVfeedback = 1.5;
				RealVfeedback = ((fabs(PosNow)+1)*7 / MotorDriveTravelDistance)+1;
				b_check[6]= 10;
			}  else if (PosNow <= MotorDriveTravelDistance) {  //Hard Stop
				RealVfeedback = 0;
				b_check[6]= 11;
			} else if (PosNow < MotorDriveTravelDistance - MotorDriveDampDistance) {  //Stop
				//RealVfeedback = 1.5;
				RealVfeedback = ((MotorDriveTravelDistance-PosNow)*7 / MotorDriveTravelDistance)+1;
				b_check[6]= 12;
			}
		}
		if((DriveDirection == 1)&&(MotorDriveTravelDistance>0)){
			if ((PosNow >= MotorDriveDampDistance) && (PosNow <= MotorDriveTravelDistance-MotorDriveDampDistance)) { // Middle
				RealVfeedback = 8;
				b_check[6]= 13;
			} else if (PosNow < MotorDriveDampDistance) { // Start
				//RealVfeedback = 2;
				RealVfeedback = ((PosNow+3) * 8/ MotorDriveDampDistance)+1;
				b_check[6]= 14;
			} else if (PosNow >= MotorDriveTravelDistance) {  //Hard Stop
				RealVfeedback = 0;
				b_check[6]= 15;
			} else if (PosNow > MotorDriveTravelDistance - MotorDriveDampDistance) {  //Stop
				//RealVfeedback = 1.5;
				RealVfeedback = ((MotorDriveTravelDistance-PosNow) * 8 / MotorDriveDampDistance)+1;
				b_check[6]= 16;
			}
		}

		PIDVFeedback = Update_pid(&pid_control, MotorDriveTravelDistance-PosNow, 10, 12);

		if (fabs(PIDVFeedback) < fabs(RealVfeedback)) {
			RealVfeedback = PIDVFeedback;
		}

		RealVfeedback = RealVfeedback * DriveDirection;

		if (DriveDirection == 1) {  //go up
			HAL_GPIO_WritePin(GPIOC, GPIO_PIN_3, 0);
			b_check[9]= 4;
		} else {  //go down
			HAL_GPIO_WritePin(GPIOC, GPIO_PIN_3, 1);
			RealVfeedback = RealVfeedback * (-1);
			b_check[9]= 5;
		}

		if(fabs(RealVfeedback) < 1.6  && RealVfeedback!=0){
			if (DriveDirection == -1) {
				RealVfeedback = 1.2;
			} else {
				RealVfeedback = 1.6;
			}
		}

		duty_cycle_pid = fabs(RealVfeedback) * 4000 / 12;
		if(RealVfeedback == 0){
			duty_cycle_pid = 0;
		}

		__HAL_TIM_SET_COMPARE(&htim1, TIM_CHANNEL_1, duty_cycle_pid);
	}else if((MotorDriveTravelDistance-PosNow) < 0.1 || ((MotorDriveTravelDistance-PosNow) > -0.1)){
		__HAL_TIM_SET_COMPARE(&htim1, TIM_CHANNEL_1, 0);
		Arrived = 1;
		RealVfeedback = 0;
		b_check[6] = 6;
		registerFrame[0x10].U16 = 0;
	}else{
		Arrived = 2;
	}
}

void RelayDrive() {
	HAL_GPIO_WritePin(GPIOC, GPIO_PIN_1, relay[0]); // Pull
	HAL_GPIO_WritePin(GPIOB, GPIO_PIN_1, relay[1]); // Push
	HAL_GPIO_WritePin(GPIOB, GPIO_PIN_2, relay[2]); // Vacuum
	HAL_GPIO_WritePin(GPIOB, GPIO_PIN_9, relay[3]); // mode status

}

void ReadLimit(){

	LimitBottom = HAL_GPIO_ReadPin(GPIOC, GPIO_PIN_7);//bottom
	LimitTop = HAL_GPIO_ReadPin(GPIOB, GPIO_PIN_6);//top
}

long kalman_filter(long ADC_Value)
{
    float x_k1_k1,x_k_k1;
    static float ADC_OLD_Value;
    float Z_k;
    static float P_k1_k1;

    static float Q = 0.0001;//Q: Regulation noise, Q increases, dynamic response becomes faster, and convergence stability becomes worse
    static float R = 10; //R: Test noise, R increases, dynamic response becomes slower, convergence stability becomes better
    static float Kg = 0;
    static float P_k_k1 = 1;

    float kalman_adc;
    static float kalman_adc_old=0;
    Z_k = ADC_Value;
    x_k1_k1 = kalman_adc_old;

    x_k_k1 = x_k1_k1;
    P_k_k1 = P_k1_k1 + Q;

    Kg = P_k_k1/(P_k_k1 + R);

    kalman_adc = x_k_k1 + Kg * (Z_k - kalman_adc_old);
    P_k1_k1 = (1 - Kg)*P_k_k1;
    P_k_k1 = P_k1_k1;

    ADC_OLD_Value = ADC_Value;
    kalman_adc_old = kalman_adc;

    return kalman_adc;
}

long kalman_filter_acc(long ADC_Value)
{
    float x_k1_k1,x_k_k1;
    static float ADC_OLD_Value;
    float Z_k;
    static float P_k1_k1;

    static float Q = 0.0001;//Q: Regulation noise, Q increases, dynamic response becomes faster, and convergence stability becomes worse
    static float R = 1000; //R: Test noise, R increases, dynamic response becomes slower, convergence stability becomes better
    static float Kg = 0;
    static float P_k_k1 = 1;

    float kalman_adc;
    static float kalman_adc_old=0;
    Z_k = ADC_Value;
    x_k1_k1 = kalman_adc_old;

    x_k_k1 = x_k1_k1;
    P_k_k1 = P_k1_k1 + Q;

    Kg = P_k_k1/(P_k_k1 + R);

    kalman_adc = x_k_k1 + Kg * (Z_k - kalman_adc_old);
    P_k1_k1 = (1 - Kg)*P_k_k1;
    P_k_k1 = P_k1_k1;

    ADC_OLD_Value = ADC_Value;
    kalman_adc_old = kalman_adc;

    return kalman_adc;
}
/* USER CODE END 4 */

void Error_Handler(void)
{
  __disable_irq();
  while (1)
  {
  }
}
